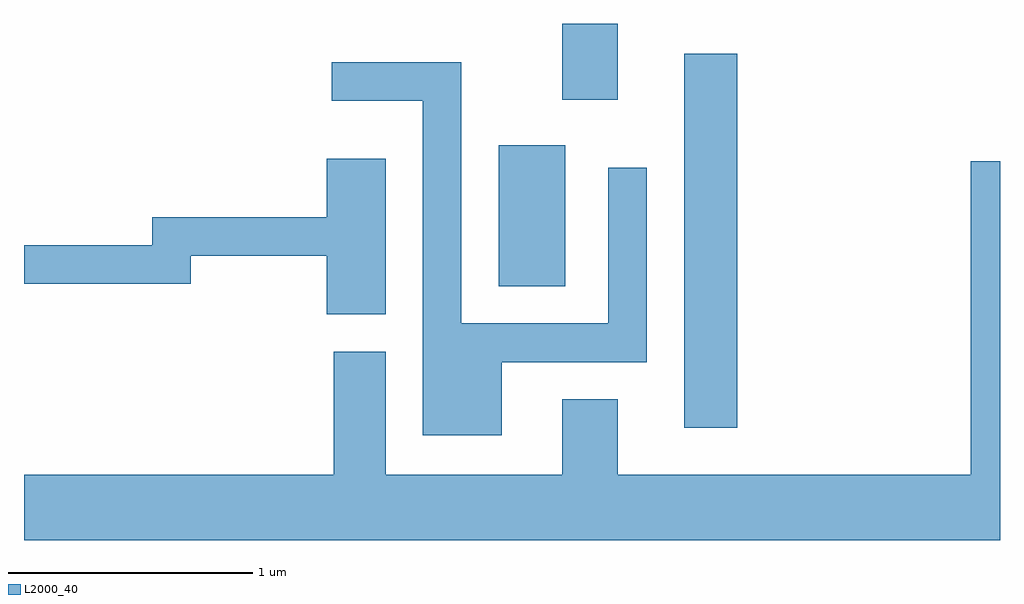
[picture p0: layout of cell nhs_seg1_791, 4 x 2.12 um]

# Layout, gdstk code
import gdstk
lib = gdstk.Library(unit=1e-6, precision=1e-09)
def R(c, l, rs):  # rectangles x0, y0, x1, y1
    for r in rs: c.add(gdstk.rectangle(r[:2], r[2:], *l))
def P(c, l, *ps):  # polygons
    for p in ps: c.add(gdstk.Polygon(p, *l))
L2000_40 = (2000, 40)

nhs_seg1_791 = lib.new_cell('nhs_seg1_791')
R(nhs_seg1_791, L2000_40, [(212.316,880.056,212.534,881.589), (211.556,880.636,211.829,881.214), (211.816,881.401,212.044,881.712)])
P(nhs_seg1_791, L2000_40, [(211.569,880.326),(212.164,880.326),(212.164,881.123),(212.006,881.123),(212.006,880.484),(211.404,880.484),(211.404,881.554),(210.873,881.554),(210.873,881.396),(211.246,881.396),(211.246,880.026),(211.569,880.026)],
  [(211.094,881.159),(210.851,881.159),(210.851,880.919),(210.136,880.919),(210.136,880.804),(209.611,880.804),(209.611,880.646),(210.294,880.646),(210.294,880.761),(210.851,880.761),(210.851,880.521),(211.094,880.521)],
  [(213.611,881.149),(213.491,881.149),(213.491,879.864),(212.044,879.864),(212.044,880.174),(211.816,880.174),(211.816,879.864),(211.094,879.864),(211.094,880.369),(210.881,880.369),(210.881,879.864),(209.611,879.864),(209.611,879.596),(213.611,879.596)])

lib.write_gds('nhs_seg1_791.gds')
